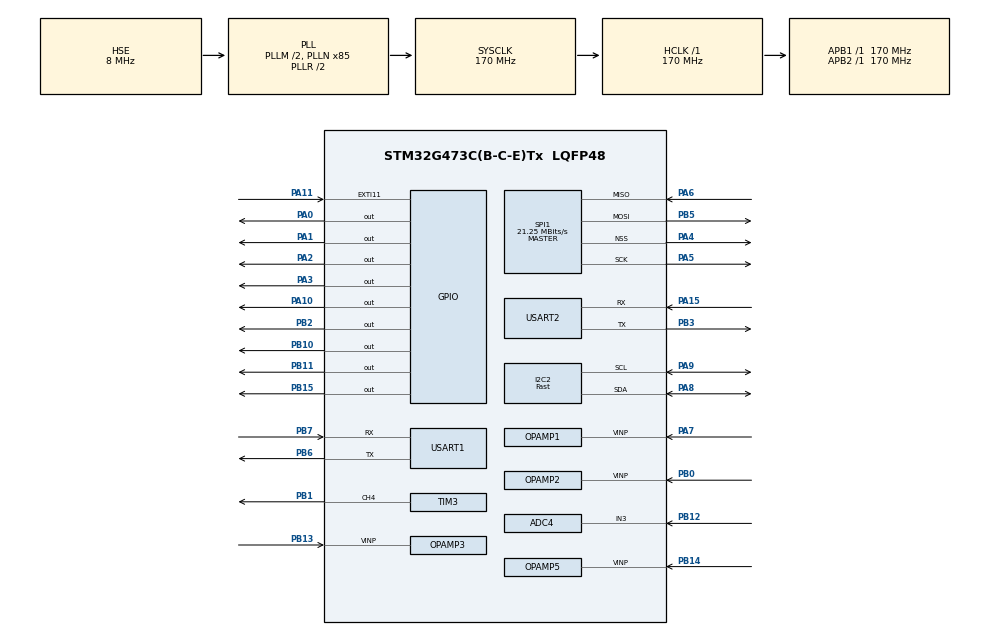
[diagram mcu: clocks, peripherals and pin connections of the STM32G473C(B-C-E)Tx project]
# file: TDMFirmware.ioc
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ADC1.Channel-2\#ChannelRegularConversion=ADC_CHANNEL_VOPAMP1
ADC1.ContinuousConvMode=DISABLE
ADC1.DMAContinuousRequests=ENABLE
ADC1.NbrOfConversionFlag=1
ADC1.Overrun=ADC_OVR_DATA_OVERWRITTEN
ADC1.OversamplingMode=ENABLE
ADC1.Ratio=ADC_OVERSAMPLING_RATIO_128
ADC1.RightBitShift=ADC_RIGHTBITSHIFT_3
ADC1.SamplingTime-2\#ChannelRegularConversion=ADC_SAMPLETIME_24CYCLES_5
ADC1.master=1
ADC2.Channel-4\#ChannelRegularConversion=ADC_CHANNEL_VOPAMP2
ADC2.ContinuousConvMode=ENABLE
ADC2.DMAContinuousRequests=ENABLE
ADC2.NbrOfConversionFlag=1
ADC2.OffsetNumber-4\#ChannelRegularConversion=ADC_OFFSET_NONE
ADC2.Overrun=ADC_OVR_DATA_OVERWRITTEN
ADC2.OversamplingMode=ENABLE
ADC2.Rank-4\#ChannelRegularConversion=1
ADC2.Ratio=ADC_OVERSAMPLING_RATIO_4
ADC2.RightBitShift=ADC_RIGHTBITSHIFT_NONE
ADC2.SamplingTime-4\#ChannelRegularConversion=ADC_SAMPLETIME_640CYCLES_5
ADC3.Channel-1\#ChannelRegularConversion=ADC_CHANNEL_VOPAMP3_ADC3
ADC3.ContinuousConvMode=ENABLE
ADC3.DMAContinuousRequests=DISABLE
ADC3.NbrOfConversionFlag=1
ADC3.OffsetNumber-1\#ChannelRegularConversion=ADC_OFFSET_NONE
ADC3.Rank-1\#ChannelRegularConversion=1
ADC3.SamplingTime-1\#ChannelRegularConversion=ADC_SAMPLETIME_24CYCLES_5
ADC3.master=1
ADC4.Channel-0\#ChannelRegularConversion=ADC_CHANNEL_3
ADC4.NbrOfConversionFlag=1
ADC4.OffsetNumber-0\#ChannelRegularConversion=ADC_OFFSET_NONE
ADC4.Rank-0\#ChannelRegularConversion=1
ADC4.SamplingTime-0\#ChannelRegularConversion=ADC_SAMPLETIME_24CYCLES_5
ADC5.Channel-0\#ChannelRegularConversion=ADC_CHANNEL_VOPAMP5
ADC5.ContinuousConvMode=ENABLE
ADC5.NbrOfConversion=1
ADC5.NbrOfConversionFlag=1
ADC5.OffsetNumber-0\#ChannelRegularConversion=ADC_OFFSET_NONE
ADC5.Rank-0\#ChannelRegularConversion=1
ADC5.SamplingTime-0\#ChannelRegularConversion=ADC_SAMPLETIME_24CYCLES_5
Dma.ADC1.5.Direction=DMA_PERIPH_TO_MEMORY
Dma.ADC1.5.EventEnable=DISABLE
Dma.ADC1.5.Instance=DMA1_Channel1
Dma.ADC1.5.MemDataAlignment=DMA_MDATAALIGN_HALFWORD
Dma.ADC1.5.MemInc=DMA_MINC_ENABLE
Dma.ADC1.5.Mode=DMA_NORMAL
Dma.ADC1.5.PeriphDataAlignment=DMA_PDATAALIGN_HALFWORD
Dma.ADC1.5.PeriphInc=DMA_PINC_DISABLE
Dma.ADC1.5.Polarity=HAL_DMAMUX_REQ_GEN_RISING
Dma.ADC1.5.Priority=DMA_PRIORITY_LOW
Dma.ADC1.5.RequestNumber=1
Dma.ADC1.5.SignalID=NONE
Dma.ADC1.5.SyncEnable=DISABLE
Dma.ADC1.5.SyncPolarity=HAL_DMAMUX_SYNC_NO_EVENT
Dma.ADC1.5.SyncRequestNumber=1
Dma.ADC1.5.SyncSignalID=NONE
Dma.ADC2.1.Direction=DMA_PERIPH_TO_MEMORY
Dma.ADC2.1.EventEnable=DISABLE
Dma.ADC2.1.Instance=DMA1_Channel2
Dma.ADC2.1.MemDataAlignment=DMA_MDATAALIGN_HALFWORD
Dma.ADC2.1.MemInc=DMA_MINC_ENABLE
Dma.ADC2.1.Mode=DMA_NORMAL
Dma.ADC2.1.PeriphDataAlignment=DMA_PDATAALIGN_HALFWORD
Dma.ADC2.1.PeriphInc=DMA_PINC_DISABLE
Dma.ADC2.1.Polarity=HAL_DMAMUX_REQ_GEN_RISING
Dma.ADC2.1.Priority=DMA_PRIORITY_LOW
Dma.ADC2.1.RequestNumber=1
Dma.ADC2.1.SignalID=NONE
Dma.ADC2.1.SyncEnable=DISABLE
Dma.ADC2.1.SyncPolarity=HAL_DMAMUX_SYNC_NO_EVENT
Dma.ADC2.1.SyncRequestNumber=1
Dma.ADC2.1.SyncSignalID=NONE
Dma.ADC3.2.Direction=DMA_PERIPH_TO_MEMORY
Dma.ADC3.2.EventEnable=DISABLE
Dma.ADC3.2.Instance=DMA1_Channel3
Dma.ADC3.2.MemDataAlignment=DMA_MDATAALIGN_HALFWORD
Dma.ADC3.2.MemInc=DMA_MINC_ENABLE
Dma.ADC3.2.Mode=DMA_NORMAL
Dma.ADC3.2.PeriphDataAlignment=DMA_PDATAALIGN_HALFWORD
Dma.ADC3.2.PeriphInc=DMA_PINC_DISABLE
Dma.ADC3.2.Polarity=HAL_DMAMUX_REQ_GEN_RISING
Dma.ADC3.2.Priority=DMA_PRIORITY_LOW
Dma.ADC3.2.RequestNumber=1
Dma.ADC3.2.SignalID=NONE
Dma.ADC3.2.SyncEnable=DISABLE
Dma.ADC3.2.SyncPolarity=HAL_DMAMUX_SYNC_NO_EVENT
Dma.ADC3.2.SyncRequestNumber=1
Dma.ADC3.2.SyncSignalID=NONE
Dma.ADC5.3.Direction=DMA_PERIPH_TO_MEMORY
Dma.ADC5.3.EventEnable=DISABLE
Dma.ADC5.3.Instance=DMA1_Channel5
Dma.ADC5.3.MemDataAlignment=DMA_MDATAALIGN_HALFWORD
Dma.ADC5.3.MemInc=DMA_MINC_ENABLE
Dma.ADC5.3.Mode=DMA_NORMAL
Dma.ADC5.3.PeriphDataAlignment=DMA_PDATAALIGN_HALFWORD
Dma.ADC5.3.PeriphInc=DMA_PINC_DISABLE
Dma.ADC5.3.Polarity=HAL_DMAMUX_REQ_GEN_RISING
Dma.ADC5.3.Priority=DMA_PRIORITY_LOW
Dma.ADC5.3.RequestNumber=1
Dma.ADC5.3.SignalID=NONE
Dma.ADC5.3.SyncEnable=DISABLE
Dma.ADC5.3.SyncPolarity=HAL_DMAMUX_SYNC_NO_EVENT
Dma.ADC5.3.SyncRequestNumber=1
Dma.ADC5.3.SyncSignalID=NONE
Dma.I2C2_RX.0.Direction=DMA_PERIPH_TO_MEMORY
Dma.I2C2_RX.0.EventEnable=DISABLE
Dma.I2C2_RX.0.Instance=DMA2_Channel1
Dma.I2C2_RX.0.MemDataAlignment=DMA_MDATAALIGN_BYTE
Dma.I2C2_RX.0.MemInc=DMA_MINC_ENABLE
Dma.I2C2_RX.0.Mode=DMA_NORMAL
Dma.I2C2_RX.0.PeriphDataAlignment=DMA_PDATAALIGN_BYTE
Dma.I2C2_RX.0.PeriphInc=DMA_PINC_DISABLE
Dma.I2C2_RX.0.Polarity=HAL_DMAMUX_REQ_GEN_RISING
Dma.I2C2_RX.0.Priority=DMA_PRIORITY_LOW
Dma.I2C2_RX.0.RequestNumber=1
Dma.I2C2_RX.0.SignalID=NONE
Dma.I2C2_RX.0.SyncEnable=DISABLE
Dma.I2C2_RX.0.SyncPolarity=HAL_DMAMUX_SYNC_NO_EVENT
Dma.I2C2_RX.0.SyncRequestNumber=1
Dma.I2C2_RX.0.SyncSignalID=NONE
Dma.Request0=I2C2_RX
Dma.Request1=ADC2
Dma.Request2=ADC3
Dma.Request3=ADC5
Dma.Request4=USART2_TX
Dma.Request5=ADC1
Dma.USART2_TX.4.Direction=DMA_MEMORY_TO_PERIPH
Dma.USART2_TX.4.EventEnable=DISABLE
Dma.USART2_TX.4.Instance=DMA1_Channel4
Dma.USART2_TX.4.MemDataAlignment=DMA_MDATAALIGN_BYTE
Dma.USART2_TX.4.MemInc=DMA_MINC_ENABLE
Dma.USART2_TX.4.Mode=DMA_NORMAL
Dma.USART2_TX.4.PeriphDataAlignment=DMA_PDATAALIGN_BYTE
Dma.USART2_TX.4.PeriphInc=DMA_PINC_DISABLE
Dma.USART2_TX.4.Polarity=HAL_DMAMUX_REQ_GEN_RISING
Dma.USART2_TX.4.Priority=DMA_PRIORITY_LOW
Dma.USART2_TX.4.RequestNumber=1
Dma.USART2_TX.4.SignalID=NONE
Dma.USART2_TX.4.SyncEnable=DISABLE
Dma.USART2_TX.4.SyncPolarity=HAL_DMAMUX_SYNC_NO_EVENT
Dma.USART2_TX.4.SyncRequestNumber=1
Dma.USART2_TX.4.SyncSignalID=NONE
I2C2.I2C_Speed_Mode=I2C_Fast
I2C2.Speed=100
I2C2.Timing=0x406248FF
Mcu.Family=STM32G4
Mcu.Name=STM32G473C(B-C-E)Tx
Mcu.Package=LQFP48
NVIC.DMA1_Channel1_IRQn=true\:0\:0\:false\:false\:true\:false\:true\:true
NVIC.DMA1_Channel2_IRQn=true\:0\:0\:false\:false\:true\:false\:true\:true
NVIC.DMA1_Channel3_IRQn=true\:0\:0\:false\:false\:true\:false\:true\:true
NVIC.DMA1_Channel4_IRQn=true\:0\:0\:false\:false\:true\:false\:true\:true
NVIC.DMA1_Channel5_IRQn=true\:0\:0\:false\:false\:true\:false\:true\:true
NVIC.DMA2_Channel1_IRQn=true\:0\:0\:false\:false\:true\:false\:true\:true
NVIC.EXTI15_10_IRQn=true\:1\:0\:true\:false\:true\:true\:true\:true
NVIC.I2C2_ER_IRQn=true\:0\:0\:false\:false\:true\:true\:true\:true
NVIC.I2C2_EV_IRQn=true\:0\:0\:false\:false\:true\:true\:true\:true
NVIC.PriorityGroup=NVIC_PRIORITYGROUP_4
NVIC.TIM6_DAC_IRQn=true\:0\:0\:false\:false\:true\:true\:true\:true
NVIC.TIM7_DAC_IRQn=true\:0\:0\:false\:false\:true\:true\:true\:true
OPAMP1.PgaGain=OPAMP_PGA_GAIN_16_OR_MINUS_15
OPAMP1.PowerMode=OPAMP_POWERMODE_HIGHSPEED
OPAMP2.PowerMode=OPAMP_POWERMODE_HIGHSPEED
OPAMP3.PgaGain=OPAMP_PGA_GAIN_2_OR_MINUS_1
OPAMP3.PowerMode=OPAMP_POWERMODE_HIGHSPEED
OPAMP5.PgaGain=OPAMP_PGA_GAIN_2_OR_MINUS_1
OPAMP5.PowerMode=OPAMP_POWERMODE_HIGHSPEED
PA0.PinState=GPIO_PIN_RESET
PA0.Signal=GPIO_Output
PA1.Signal=GPIO_Output
PA10.Signal=GPIO_Output
PA11.GPIO_ModeDefaultEXTI=GPIO_MODE_IT_FALLING
PA11.GPIO_PuPd=GPIO_NOPULL
PA11.Signal=GPXTI11
PA13.Mode=Serial_Wire
PA13.Signal=SYS_JTMS-SWDIO
PA14.Mode=Serial_Wire
PA14.Signal=SYS_JTCK-SWCLK
PA15.Mode=Asynchronous
PA15.Signal=USART2_RX
PA2.Signal=GPIO_Output
PA3.Signal=GPIO_Output
PA4.Mode=NSS_Signal_Hard_Output
PA4.Signal=SPI1_NSS
PA5.Mode=Full_Duplex_Master
PA5.Signal=SPI1_SCK
PA6.Mode=Full_Duplex_Master
PA6.Signal=SPI1_MISO
PA7.Mode=PGA_Internally_Connected
PA7.Signal=OPAMP1_VINP
PA8.Mode=I2C
PA8.Signal=I2C2_SDA
PA9.Mode=I2C
PA9.Signal=I2C2_SCL
PB0.Mode=PGA_Internally_Connected
PB0.Signal=OPAMP2_VINP
PB1.GPIO_Speed=GPIO_SPEED_FREQ_VERY_HIGH
PB1.Signal=S_TIM3_CH4
PB10.Signal=GPIO_Output
PB11.Signal=GPIO_Output
PB12.Mode=IN3-Single-Ended
PB12.Signal=ADC4_IN3
PB13.Mode=PGA_Internally_Connected
PB13.Signal=OPAMP3_VINP
PB14.Mode=PGA_Internally_Connected
PB14.Signal=OPAMP5_VINP
PB15.Signal=GPIO_Output
PB2.Signal=GPIO_Output
PB3.Mode=Asynchronous
PB3.Signal=USART2_TX
PB5.Mode=Full_Duplex_Master
PB5.Signal=SPI1_MOSI
PB6.Mode=Asynchronous
PB6.Signal=USART1_TX
PB7.Mode=Asynchronous
PB7.Signal=USART1_RX
PF0-OSC_IN.Mode=HSE-External-Oscillator
PF0-OSC_IN.Signal=RCC_OSC_IN
PF1-OSC_OUT.Mode=HSE-External-Oscillator
PF1-OSC_OUT.Signal=RCC_OSC_OUT
ProjectManager.HeapSize=0x800
ProjectManager.StackSize=0x800
ProjectManager.TargetToolchain=STM32CubeIDE
RCC.ADC12Freq_Value=170000000
RCC.ADC345Freq_Value=170000000
RCC.AHBFreq_Value=170000000
RCC.APB1Freq_Value=170000000
RCC.APB1TimFreq_Value=170000000
RCC.APB2Freq_Value=170000000
RCC.APB2TimFreq_Value=170000000
RCC.CortexFreq_Value=170000000
RCC.EXTERNAL_CLOCK_VALUE=12288000
RCC.HCLKFreq_Value=170000000
RCC.HSE_VALUE=8000000
RCC.HSI48_VALUE=48000000
RCC.HSI_VALUE=16000000
RCC.LSE_VALUE=32768
RCC.PLLM=RCC_PLLM_DIV2
RCC.PLLN=85
RCC.PLLSourceVirtual=RCC_PLLSOURCE_HSE
RCC.SYSCLKFreq_VALUE=170000000
RCC.SYSCLKSource=RCC_SYSCLKSOURCE_PLLCLK
RCC.USBFreq_Value=170000000
RCC.VCOOutputFreq_Value=340000000
SH.S_TIM3_CH4.0=TIM3_CH4,PWM Generation4 CH4
SPI1.BaudRatePrescaler=SPI_BAUDRATEPRESCALER_8
SPI1.CalculateBaudRate=21.25 MBits/s
SPI1.DataSize=SPI_DATASIZE_8BIT
SPI1.Direction=SPI_DIRECTION_2LINES
SPI1.Mode=SPI_MODE_MASTER
SPI1.VirtualNSS=VM_NSSHARD
SPI1.VirtualType=VM_MASTER
STMicroelectronics.X-CUBE-AI.10.2.0.ActivationBufferSizeList=0
STMicroelectronics.X-CUBE-AI.10.2.0.ActivationBuffers=NULL
STMicroelectronics.X-CUBE-AI.10.2.0.ApplicationCcDeviceJjApplication=SystemPerformance
STMicroelectronics.X-CUBE-AI.10.2.0.HeapSize=0x800
STMicroelectronics.X-CUBE-AI.10.2.0.LatestDirectoryUsed-7f2105734fdb206149833b14056778ecde051ab76f57b0661ab84d07edaf9aeb=C\:\\Users\\Korea University\\ClaudeProject\\MultimodalSensor\\nn_decoupling\\stm32_deploy
STMicroelectronics.X-CUBE-AI.10.2.0.MaximumNumberOfInputLayer=1
STMicroelectronics.X-CUBE-AI.10.2.0.MaximumNumberOfOutputLayer=1
STMicroelectronics.X-CUBE-AI.10.2.0.ModelActualCompression-7f2105734fdb206149833b14056778ecde051ab76f57b0661ab84d07edaf9aeb=0.0
STMicroelectronics.X-CUBE-AI.10.2.0.ModelCompression-7f2105734fdb206149833b14056778ecde051ab76f57b0661ab84d07edaf9aeb=None
STMicroelectronics.X-CUBE-AI.10.2.0.ModelFlashOccupation-7f2105734fdb206149833b14056778ecde051ab76f57b0661ab84d07edaf9aeb=0
STMicroelectronics.X-CUBE-AI.10.2.0.ModelHashList=7f2105734fdb206149833b14056778ecde051ab76f57b0661ab84d07edaf9aeb
STMicroelectronics.X-CUBE-AI.10.2.0.ModelKind-7f2105734fdb206149833b14056778ecde051ab76f57b0661ab84d07edaf9aeb=ONNX
STMicroelectronics.X-CUBE-AI.10.2.0.ModelMacc-7f2105734fdb206149833b14056778ecde051ab76f57b0661ab84d07edaf9aeb=0
STMicroelectronics.X-CUBE-AI.10.2.0.ModelName-7f2105734fdb206149833b14056778ecde051ab76f57b0661ab84d07edaf9aeb=network_1
STMicroelectronics.X-CUBE-AI.10.2.0.ModelNameList=network_1
STMicroelectronics.X-CUBE-AI.10.2.0.ModelRamOccupation-7f2105734fdb206149833b14056778ecde051ab76f57b0661ab84d07edaf9aeb=0
STMicroelectronics.X-CUBE-AI.10.2.0.ModelStructureFile-7f2105734fdb206149833b14056778ecde051ab76f57b0661ab84d07edaf9aeb=C\:\\Users\\Korea University\\ClaudeProject\\MultimodalSensor\\nn_decoupling\\stm32_deploy\\stage1.onnx
STMicroelectronics.X-CUBE-AI.10.2.0.ModelType-7f2105734fdb206149833b14056778ecde051ab76f57b0661ab84d07edaf9aeb=STM32Cube.AI MCU runtime
STMicroelectronics.X-CUBE-AI.10.2.0.ReadyForCodeGeneration=false
STMicroelectronics.X-CUBE-AI.10.2.0.StackSize=0x800
STMicroelectronics.X-CUBE-AI.10.2.0.ValidationInputFileHistory-7f2105734fdb206149833b14056778ecde051ab76f57b0661ab84d07edaf9aeb=C\:\\Users\\Korea University\\ClaudeProject\\MultimodalSensor\\nn_decoupling\\stm32_deploy\\val_s1_input.csv,C\:\\Users\\Korea University\\ClaudeProject\\MultimodalSensor\\nn_decoupling\\stm32_deploy\\val_s1_input.csv
STMicroelectronics.X-CUBE-AI.10.2.0.ValidationOutputFileHistory-7f2105734fdb206149833b14056778ecde051ab76f57b0661ab84d07edaf9aeb=C\:\\Users\\Korea University\\ClaudeProject\\MultimodalSensor\\nn_decoupling\\stm32_deploy\\val_s1_output.csv,C\:\\Users\\Korea University\\ClaudeProject\\MultimodalSensor\\nn_decoupling\\stm32_deploy\\val_s1_output.csv
STMicroelectronics.X-CUBE-AI.10.2.0.WorkingBufferStartAddrList=0xFFFFFFFF
STMicroelectronics.X-CUBE-AI.10.2.0.XAaCUBEAaAICcArtificialOoIntelligenceJjCore=true
STMicroelectronics.X-CUBE-AI.10.2.0.copyWeightToRam-7f2105734fdb206149833b14056778ecde051ab76f57b0661ab84d07edaf9aeb=false
STMicroelectronics.X-CUBE-AI.10.2.0.customLayerConfigEnabled-7f2105734fdb206149833b14056778ecde051ab76f57b0661ab84d07edaf9aeb=false
STMicroelectronics.X-CUBE-AI.10.2.0.noOnnxIoTranspose-7f2105734fdb206149833b14056778ecde051ab76f57b0661ab84d07edaf9aeb=false
STMicroelectronics.X-CUBE-AI.10.2.0.useInputAllocation-7f2105734fdb206149833b14056778ecde051ab76f57b0661ab84d07edaf9aeb=true
STMicroelectronics.X-CUBE-AI.10.2.0.useOutputAllocation-7f2105734fdb206149833b14056778ecde051ab76f57b0661ab84d07edaf9aeb=true
TIM3.Channel-PWM\ Generation4\ CH4=TIM_CHANNEL_4
TIM3.PeriodNoDither=16
TIM3.PulseNoDither_4=8
TIM6.Prescaler=169
TIM7.Prescaler=169
USART1.VirtualMode-Asynchronous=VM_ASYNC
USART2.VirtualMode-Asynchronous=VM_ASYNC
VP_ADC1_OPAMP_INTERNAL1.Mode=IN-OPAMP1
VP_ADC2_OPAMP_INTERNAL2.Mode=IN-OPAMP2
VP_ADC3_OPAMP_INTERNAL3.Mode=IN-OPAMP3
VP_ADC5_OPAMP_INTERNAL5.Mode=IN-OPAMP5
VP_STMicroelectronics.X-CUBE-AI_VS_ArtificialOoIntelligenceJjXAaCUBEAaAI_10.2.0.Mode=ArtificialOoIntelligenceJjXAaCUBEAaAI
VP_STMicroelectronics.X-CUBE-AI_VS_DeviceJjApplication_10.2.0.Mode=DeviceJjApplication
VP_SYS_VS_DBSignals.Mode=DisableDeadBatterySignals
VP_TIM6_VS_ClockSourceINT.Mode=Enable_Timer
VP_TIM7_VS_ClockSourceINT.Mode=Enable_Timer
board=custom

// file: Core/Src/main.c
/* USER CODE BEGIN Header */
/**
  ******************************************************************************
  * @file           : main.c
  * @brief          : Main program body
  ******************************************************************************
  * @attention
  *
  * Copyright (c) 2025 STMicroelectronics.
  * All rights reserved.
  *
  * This software is licensed under terms that can be found in the LICENSE file
  * in the root directory of this software component.
  * If no LICENSE file comes with this software, it is provided AS-IS.
  *
  ******************************************************************************
  */
/* USER CODE END Header */
#include "main.h"
#include "adc.h"
#include "dma.h"
#include "i2c.h"
#include "opamp.h"
#include "spi.h"
#include "tim.h"
#include "usart.h"
#include "gpio.h"
#include "app_x-cube-ai.h"

/* USER CODE BEGIN Includes */
#include <stdio.h>
#include <string.h>
#include <TDM.h>
/* #include "nn_inference.h" -- 구 2단계(R->strain, L+strain->distance) 정적
 * 디커플러. 오늘 세션의 게이트+EMA MoE 모델(moe_inference)로 대체 — 파일은
 * 참고용으로 남겨두고 더 이상 호출하지 않는다. */
#include "moe_inference.h"
#include "LDC1614.h"
/* USER CODE END Includes */

/* USER CODE BEGIN PV */
volatile uint8_t uart_tx_busy = 0;
static char txbuf[128];  /* DMA TX buffer — must stay valid until HAL_UART_TxCpltCallback
                           * (96->128: moe_inference 출력 컬럼 5개 추가로 늘어남) */
extern volatile TDM_State_t tdm_state;

uint32_t idle_counter = 0;//테스트용 삭제
uint32_t last_tick = 0;//테스트용 삭제

/* USER CODE END PV */

void SystemClock_Config(void);

int main(void)
{

  /* MCU Configuration--------------------------------------------------------*/

  /* Reset of all peripherals, Initializes the Flash interface and the Systick. */
  HAL_Init();

  /* Configure the system clock */
  SystemClock_Config();

  /* Initialize all configured peripherals */
  MX_GPIO_Init();
  MX_DMA_Init();
  MX_ADC3_Init();
  MX_USART1_UART_Init();
  MX_USART2_UART_Init();
  MX_ADC5_Init();
  MX_OPAMP1_Init();
  MX_OPAMP3_Init();
  MX_OPAMP5_Init();
  MX_ADC1_Init();
  MX_ADC2_Init();
  MX_ADC4_Init();
  MX_I2C2_Init();
  MX_OPAMP2_Init();
  MX_SPI1_Init();
  MX_TIM3_Init();
  MX_TIM6_Init();
  MX_TIM7_Init();
  MX_X_CUBE_AI_Init();
  /* USER CODE BEGIN 2 */
  HAL_GPIO_WritePin(GPIOA, GPIO_PIN_0, GPIO_PIN_SET); //전원 LED

  HAL_ADCEx_Calibration_Start(&hadc1, ADC_SINGLE_ENDED);
  HAL_ADCEx_Calibration_Start(&hadc2, ADC_SINGLE_ENDED);
  HAL_ADCEx_Calibration_Start(&hadc3, ADC_SINGLE_ENDED);
  HAL_ADCEx_Calibration_Start(&hadc5, ADC_SINGLE_ENDED);
  HAL_OPAMP_SelfCalibrate(&hopamp1);
  HAL_OPAMP_SelfCalibrate(&hopamp2);
  HAL_OPAMP_SelfCalibrate(&hopamp3);
  HAL_OPAMP_SelfCalibrate(&hopamp5);
  HAL_OPAMP_Start(&hopamp1);
  HAL_OPAMP_Start(&hopamp2);
  HAL_OPAMP_Start(&hopamp3);
  HAL_OPAMP_Start(&hopamp5);

  TDM_Init();
  moe_inference_init();

  /* USART2 NVIC — needed so HAL_UART_TxCpltCallback fires after DMA TX */
  HAL_NVIC_SetPriority(USART2_IRQn, 1, 0);
  HAL_NVIC_EnableIRQ(USART2_IRQn);

  /* DWT cycle counter for latency measurement */
  CoreDebug->DEMCR |= CoreDebug_DEMCR_TRCENA_Msk;
  DWT->CYCCNT = 0;
  DWT->CTRL  |= DWT_CTRL_CYCCNTENA_Msk;

  printf("--- System Boot ---\r\n");

  /* USER CODE END 2 */

  /* Infinite loop */
  while (1)
  {

  MX_X_CUBE_AI_Process();
    /* USER CODE BEGIN 3 */

	  /* 부팅 후 첫 번째 유효 데이터에서 f0, L0 1회 출력 */
	  static uint8_t logged_f0 = 0;
	  if (!logged_f0 && g_SensorData.update_flag == 1 && g_SensorData.ldc_ch[0] > 0) {
		  logged_f0 = 1;
		  /* f_sensor = DATA * f_REF * FIN_DIV / (2^28 * FREF_DIV)
		   *          = DATA * 40MHz * 2 / 268435456 = DATA * 0.2981 Hz */
		  float f0_hz = (float)g_SensorData.ldc_ch[0] * 0.29802322f;
		  float L0_uH = 1e18f / (4.0f * 3.14159265f * 3.14159265f * f0_hz * f0_hz * 330.0f);
		  printf("# INIT: DATA0=%lu, f0=%.1fHz, L0=%.4fuH\r\n",
				 (unsigned long)g_SensorData.ldc_ch[0], f0_hz, L0_uH);
	  }

	  if(g_SensorData.update_flag == 1) {
		  g_SensorData.update_flag = 0;

		  float dL = 0.0f, dR = 0.0f, dV = 0.0f;

		  /* IDRIVE/STATUS 읽기: 10ms마다(매 출력주기), TIM7 잠시 정지해 I2C DMA 충돌 방지
		   * STATUS(0x18) 비트: bit9=ERR_ALE(진폭저하), bit10=ERR_AHE, bit11=ERR_WD, bit14=ERR_OR, bit15=ERR_UR */
		  static uint8_t  cached_idrive = 0;
		  static uint16_t cached_status = 0;
		  HAL_TIM_Base_Stop_IT(&htim7);
		  cached_idrive = LDC1614_ReadIDRIVE();
		  cached_status = LDC1614_ReadSTATUS();
		  HAL_TIM_Base_Start_IT(&htim7);

		  if (TDM_Get_Sensor_pct(&dL, &dR, &dV)) {
			  uint32_t t0 = DWT->CYCCNT;
			  MoeOut ai = moe_inference_run(dL, dR);
			  uint32_t cyc = DWT->CYCCNT - t0;

			  if (!uart_tx_busy) {
				  float latency_us = (float)cyc / 170.0f;
				  /* 출력 컬럼: dL_pct, dR_pct, dV_pct, IDRIVE, STATUS,
				   *           strain_pct, value(mode==0:distance_mm / mode==1:force_N),
				   *           mode(0=근접,1=압력), gate_proba, latency_us
				   *   IDRIVE : 0=Rp높음(Q양호)  31=Rp낮음(한계)
				   *   STATUS : 0x18 원본값. Python: err_ale=(s>>9)&1, err_wd=(s>>11)&1 */
				  int len = snprintf(txbuf, sizeof(txbuf),
						  "%.4f,%.4f,%.4f,%u,%u,%.3f,%.3f,%u,%.3f,%.2f\r\n",
						  (double)dL, (double)dR, (double)dV,
						  (unsigned int)cached_idrive,
						  (unsigned int)cached_status,
						  (double)ai.strain_pct, (double)ai.value,
						  (unsigned int)ai.mode, (double)ai.gate_proba,
						  (double)latency_us
						  );
				  uart_tx_busy = 1;
				  if (HAL_UART_Transmit_DMA(&huart2, (uint8_t*)txbuf, (uint16_t)len) != HAL_OK) {
					  uart_tx_busy = 0;   /* DMA 시작 실패 시 플래그 즉시 해제 */
				  }
			  }
		  }
	  }

	  //메인 코어 점유율 검사////////////////////////////////////////
//	  idle_counter++;
//	  if (HAL_GetTick() - last_tick >= 1000) {
//		  last_tick = HAL_GetTick();
//		  printf("CPU Idle Count: %lu\r\n", idle_counter);
//		  idle_counter = 0;
//	  }
//	  if (g_SensorData.update_flag == 1) {
//		  g_SensorData.update_flag = 0;
//	  }
	  ////////////////////////////////////////////////////////////

  }
  /* USER CODE END 3 */
}

void SystemClock_Config(void)
{
  RCC_OscInitTypeDef RCC_OscInitStruct = {0};
  RCC_ClkInitTypeDef RCC_ClkInitStruct = {0};

  /** Configure the main internal regulator output voltage
  */
  HAL_PWREx_ControlVoltageScaling(PWR_REGULATOR_VOLTAGE_SCALE1_BOOST);

  /** Initializes the RCC Oscillators according to the specified parameters
  * in the RCC_OscInitTypeDef structure.
  */
  RCC_OscInitStruct.OscillatorType = RCC_OSCILLATORTYPE_HSE;
  RCC_OscInitStruct.HSEState = RCC_HSE_ON;
  RCC_OscInitStruct.PLL.PLLState = RCC_PLL_ON;
  RCC_OscInitStruct.PLL.PLLSource = RCC_PLLSOURCE_HSE;
  RCC_OscInitStruct.PLL.PLLM = RCC_PLLM_DIV2;
  RCC_OscInitStruct.PLL.PLLN = 85;
  RCC_OscInitStruct.PLL.PLLP = RCC_PLLP_DIV2;
  RCC_OscInitStruct.PLL.PLLQ = RCC_PLLQ_DIV2;
  RCC_OscInitStruct.PLL.PLLR = RCC_PLLR_DIV2;
  if (HAL_RCC_OscConfig(&RCC_OscInitStruct) != HAL_OK)
  {
    Error_Handler();
  }

  /** Initializes the CPU, AHB and APB buses clocks
  */
  RCC_ClkInitStruct.ClockType = RCC_CLOCKTYPE_HCLK|RCC_CLOCKTYPE_SYSCLK
                              |RCC_CLOCKTYPE_PCLK1|RCC_CLOCKTYPE_PCLK2;
  RCC_ClkInitStruct.SYSCLKSource = RCC_SYSCLKSOURCE_PLLCLK;
  RCC_ClkInitStruct.AHBCLKDivider = RCC_SYSCLK_DIV1;
  RCC_ClkInitStruct.APB1CLKDivider = RCC_HCLK_DIV1;
  RCC_ClkInitStruct.APB2CLKDivider = RCC_HCLK_DIV1;

  if (HAL_RCC_ClockConfig(&RCC_ClkInitStruct, FLASH_LATENCY_4) != HAL_OK)
  {
    Error_Handler();
  }
}

/* USER CODE BEGIN 4 */

int _write(int file, char *ptr, int len) {
    HAL_UART_Transmit(&huart2, (uint8_t *)ptr, len, 10);
//    HAL_UART_Transmit_DMA(&huart2, (uint8_t *)ptr, len);
    return len;
}

/* 1. LDC 인터럽트 (PA11 -> EXTI15_10) */
void HAL_GPIO_EXTI_Callback(uint16_t GPIO_Pin) {
    if (GPIO_Pin == GPIO_PIN_11) {
//        TDM_Start_Sequence_From_ISR();
    }
}

/* 2. 타이머 인터럽트 (TIM6) */
void HAL_TIM_PeriodElapsedCallback(TIM_HandleTypeDef *htim) {
	if (htim->Instance == TIM6) {
//		TDM_Handle_Timer_ISR();
		TDM_Handle_Timer_ADC_ISR();
	}
	else if (htim->Instance == TIM7) {
		TDM_Handle_Timer_Main_ISR();
	}
}

/* 3. I2C DMA 완료 인터럽트 */
void HAL_I2C_MemRxCpltCallback(I2C_HandleTypeDef *hi2c) {
    if (hi2c->Instance == I2C2) {
        TDM_Handle_I2C_RxCplt();
    }
}

// I2C 에러 처리 그냥 없애주는 함수
void HAL_I2C_ErrorCallback(I2C_HandleTypeDef *hi2c) {
	if (hi2c->Instance == I2C2) {
	        // 1. 에러가 났지만, TDM 로직이 멈추지 않게 하기 위해
	        //    마치 통신이 끝난 것처럼 처리해줍니다.

	        // 외부 변수 가져오기 (main.c 위에 선언 안 되어 있으면 extern 필요)
	        extern volatile bool flag_i2c_done;
	        extern volatile bool flag_adc_seq_done;
	        extern volatile TDM_State_t tdm_state;

	        flag_i2c_done = true; // "일단 온 걸로 치자" (강제 플래그 설정)

	        // 2. 만약 ADC 쪽이 이미 끝나서 기다리고 있었다면? -> 문 닫고 퇴근(IDLE) 시켜줌
	        if (flag_adc_seq_done) {
	            // 이번 데이터는 에러라서 신뢰할 수 없지만, 시스템이 멈추는 것보단 낫습니다.
	            // g_SensorData.update_flag = 1; (선택사항: 에러 데이터도 보낼 거면 주석 해제)

	            tdm_state = TDM_STATE_IDLE; // [핵심] 상태를 풀어줘서 다음 인터럽트를 받을 수 있게 함
	        }

	        // (선택) 디버깅용: LED를 살짝 깜빡여서 "아, 방금 에러 났었네"라고 알림
	        // HAL_GPIO_TogglePin(GPIOA, GPIO_PIN_0);
	    }
}

/* 4. UART DMA 완료 인터럽트 */
void HAL_UART_TxCpltCallback(UART_HandleTypeDef *huart)
{
  if (huart->Instance == USART2) {
    uart_tx_busy = 0; // 전송 완료! 이제 다음 데이터 보낼 수 있음
  }
}

/* USER CODE END 4 */

void Error_Handler(void)
{
  __disable_irq();
  while (1)
  {
  }
}
